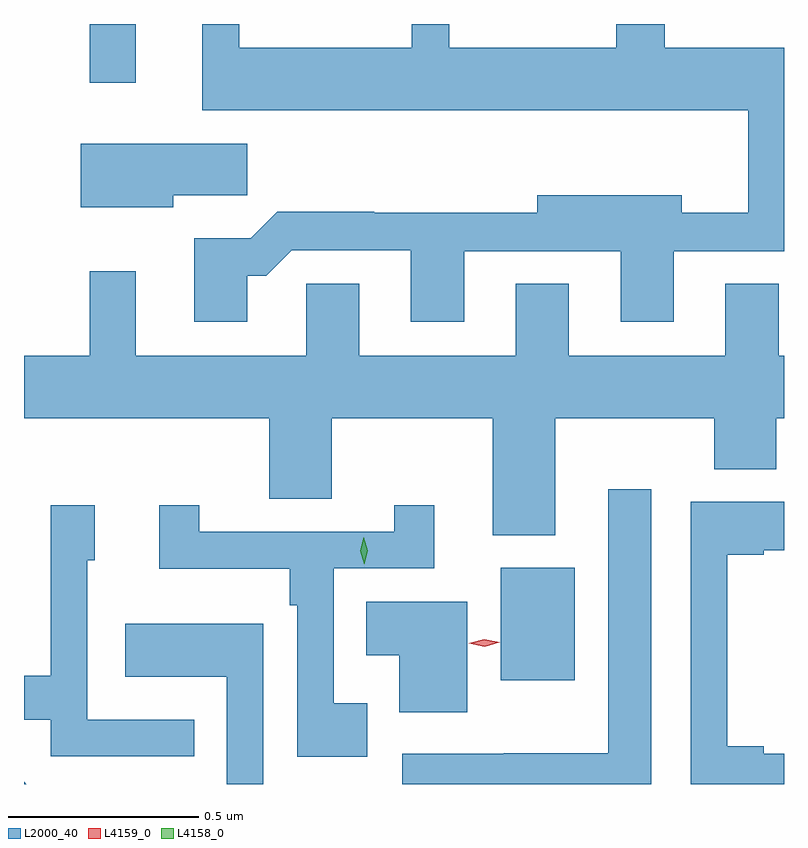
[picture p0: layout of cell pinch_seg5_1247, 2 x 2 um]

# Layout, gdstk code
import gdstk
lib = gdstk.Library(unit=1e-6, precision=1e-09)
def R(c, l, rs):  # rectangles x0, y0, x1, y1
    for r in rs: c.add(gdstk.rectangle(r[:2], r[2:], *l))
def P(c, l, *ps):  # polygons
    for p in ps: c.add(gdstk.Polygon(p, *l))
L2000_40 = (2000, 40)
L4158_0 = (4158, 0)
L4159_0 = (4159, 0)

pinch_seg5_1247 = lib.new_cell('pinch_seg5_1247')
R(pinch_seg5_1247, L2000_40, [(435.968,890.702,436.162,890.998), (434.886,892.275,435.007,892.429)])
P(pinch_seg5_1247, L2000_40, [(435.301,891.767),(435.35,891.767),(435.417,891.834),(435.731,891.834),(435.731,891.645),(435.871,891.645),(435.871,891.831),(436.283,891.831),(436.283,891.645),(436.423,891.645),(436.423,891.831),(436.713,891.831),(436.713,892.366),(436.399,892.366),(436.399,892.429),(436.271,892.429),(436.271,892.366),(435.832,892.366),(435.832,892.429),(435.734,892.429),(435.734,892.366),(435.28,892.366),(435.28,892.429),(435.182,892.429),(435.182,892.202),(436.619,892.202),(436.619,891.932),(436.444,891.932),(436.444,891.979),(436.064,891.979),(436.064,891.932),(435.635,891.932),(435.635,891.935),(435.38,891.935),(435.31,891.865),(435.161,891.865),(435.161,891.645),(435.301,891.645)],
  [(435.106,891.979),(435.301,891.979),(435.301,892.114),(434.862,892.114),(434.862,891.947),(435.106,891.947)],
  [(436.111,891.392),(436.529,891.392),(436.529,891.257),(436.693,891.257),(436.693,891.392),(436.713,891.392),(436.713,891.556),(436.699,891.556),(436.699,891.746),(436.559,891.746),(436.559,891.556),(436.147,891.556),(436.147,891.746),(436.007,891.746),(436.007,891.556),(435.595,891.556),(435.595,891.746),(435.456,891.746),(435.456,891.556),(435.007,891.556),(435.007,891.778),(434.886,891.778),(434.886,891.556),(434.713,891.556),(434.713,891.392),(435.359,891.392),(435.359,891.18),(435.523,891.18),(435.523,891.392),(435.947,891.392),(435.947,891.083),(436.111,891.083)],
  [(436.363,891.205),(436.25,891.205),(436.25,890.51),(435.976,890.51),(435.976,890.508),(435.708,890.508),(435.708,890.429),(436.363,890.429)],
  [(436.713,890.508),(436.66,890.508),(436.66,890.528),(436.564,890.528),(436.564,891.032),(436.66,891.032),(436.66,891.044),(436.713,891.044),(436.713,891.172),(436.467,891.172),(436.467,890.429),(436.713,890.429)],
  [(435.616,890.641),(435.528,890.641),(435.528,890.997),(435.793,890.997),(435.793,891.163),(435.687,891.163),(435.687,891.093),(435.174,891.093),(435.174,891.163),(435.069,891.163),(435.069,890.996),(435.412,890.996),(435.412,890.9),(435.432,890.9),(435.432,890.501),(435.616,890.501)],
  [(435.161,890.598),(434.88,890.598),(434.88,891.018),(434.899,891.018),(434.899,891.163),(434.783,891.163),(434.783,890.714),(434.713,890.714),(434.713,890.598),(434.784,890.598),(434.784,890.502),(435.161,890.502)],
  [(435.88,890.908),(435.613,890.908),(435.613,890.768),(435.701,890.768),(435.701,890.618),(435.88,890.618)],
  [(435.342,890.851),(434.979,890.851),(434.979,890.711),(435.246,890.711),(435.246,890.429),(435.342,890.429)],
  [(434.713,890.435),(434.713,890.429),(434.719,890.429)])
P(pinch_seg5_1247, L4158_0, [(435.608,891.007),(435.608,891.007),(435.598,891.043),(435.607,891.079),(435.607,891.079),(435.607,891.079),(435.618,891.043),(435.608,891.007)])
P(pinch_seg5_1247, L4159_0, [(435.925,890.79),(435.883,890.799),(435.883,890.799),(435.883,890.799),(435.924,890.81),(435.965,890.802),(435.965,890.802),(435.965,890.802)])

lib.write_gds('pinch_seg5_1247.gds')
